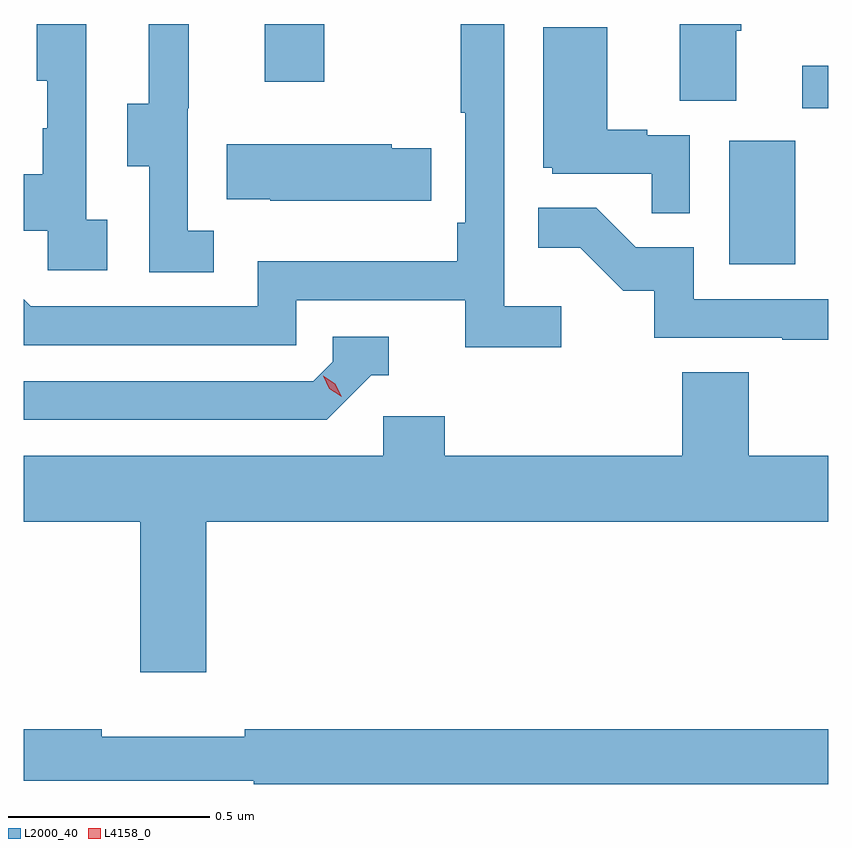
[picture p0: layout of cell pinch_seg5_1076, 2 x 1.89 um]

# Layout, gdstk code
import gdstk
lib = gdstk.Library(unit=1e-6, precision=1e-09)
def R(c, l, rs):  # rectangles x0, y0, x1, y1
    for r in rs: c.add(gdstk.rectangle(r[:2], r[2:], *l))
def P(c, l, *ps):  # polygons
    for p in ps: c.add(gdstk.Polygon(p, *l))
L2000_40 = (2000, 40)
L4158_0 = (4158, 0)

pinch_seg5_1076 = lib.new_cell('pinch_seg5_1076')
R(pinch_seg5_1076, L2000_40, [(873.764,861.396,873.928,861.703), (873.945,861.783,874.01,861.889), (872.609,861.849,872.757,861.993)])
P(pinch_seg5_1076, L2000_40, [(873.781,861.976),(873.794,861.976),(873.794,861.993),(873.641,861.993),(873.641,861.802),(873.781,861.802)],
  [(872.218,861.506),(872.166,861.506),(872.166,861.993),(872.042,861.993),(872.042,861.852),(872.068,861.852),(872.068,861.734),(872.058,861.734),(872.058,861.619),(872.01,861.619),(872.01,861.479),(872.07,861.479),(872.07,861.381),(872.218,861.381)],
  [(872.482,861.479),(872.418,861.479),(872.418,861.783),(872.42,861.783),(872.42,861.993),(872.321,861.993),(872.321,861.795),(872.267,861.795),(872.267,861.64),(872.322,861.64),(872.322,861.376),(872.482,861.376)],
  [(873.346,861.292),(873.204,861.292),(873.204,861.993),(873.096,861.993),(873.096,861.772),(873.108,861.772),(873.108,861.499),(873.088,861.499),(873.088,861.403),(872.592,861.403),(872.592,861.291),(872.028,861.291),(872.01,861.309),(872.01,861.195),(872.688,861.195),(872.688,861.306),(873.107,861.306),(873.107,861.19),(873.346,861.19)],
  [(873.666,861.717),(873.56,861.717),(873.56,861.73),(873.46,861.73),(873.46,861.985),(873.302,861.985),(873.302,861.636),(873.324,861.636),(873.324,861.621),(873.571,861.621),(873.571,861.523),(873.666,861.523)],
  [(873.023,861.684),(872.925,861.684),(872.925,861.694),(872.515,861.694),(872.515,861.557),(872.623,861.557),(872.623,861.554),(873.023,861.554)],
  [(874.01,861.309),(873.675,861.309),(873.675,861.438),(873.531,861.438),(873.433,861.536),(873.289,861.536),(873.289,861.437),(873.393,861.437),(873.5,861.33),(873.577,861.33),(873.577,861.213),(873.895,861.213),(873.895,861.208),(874.01,861.208)],
  [(872.874,861.12),(872.917,861.12),(872.917,861.216),(872.778,861.216),(872.778,861.153),(872.73,861.105),(872.01,861.105),(872.01,861.009),(872.763,861.009)],
  [(873.647,861.128),(873.647,860.92),(873.056,860.92),(873.056,861.018),(872.904,861.018),(872.904,860.92),(872.01,860.92),(872.01,860.756),(872.3,860.756),(872.3,860.382),(872.464,860.382),(872.464,860.756),(874.01,860.756),(874.01,860.92),(873.812,860.92),(873.812,861.128)],
  [(874.01,860.24),(872.56,860.24),(872.56,860.221),(872.204,860.221),(872.204,860.24),(872.01,860.24),(872.01,860.112),(872.582,860.112),(872.582,860.104),(874.01,860.104)])
P(pinch_seg5_1076, L4158_0, [(872.8,861.066),(872.769,861.086),(872.754,861.119),(872.754,861.119),(872.754,861.119),(872.785,861.099),(872.8,861.066),(872.8,861.066)])

lib.write_gds('pinch_seg5_1076.gds')
